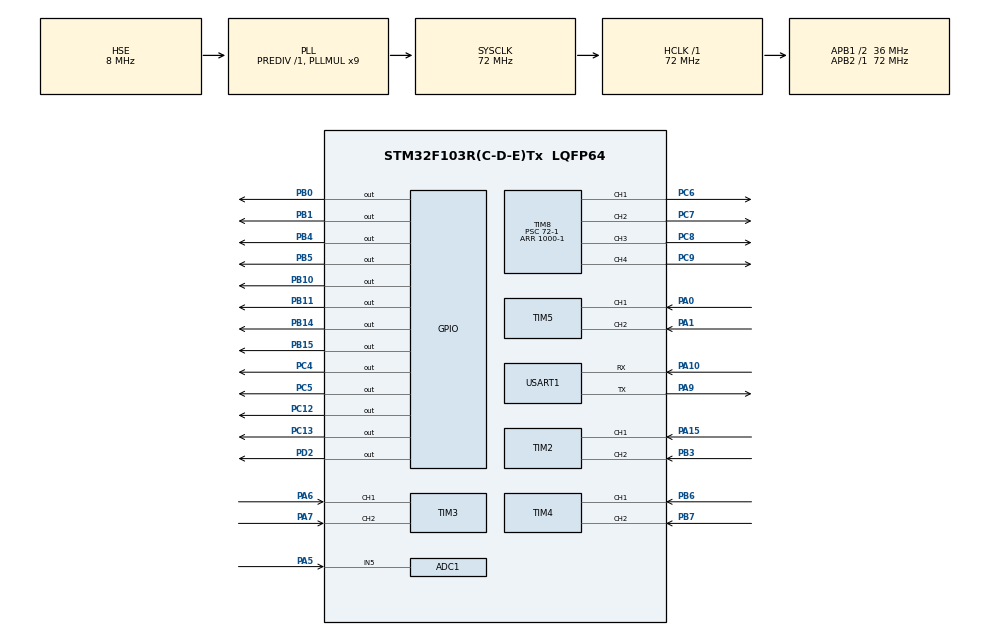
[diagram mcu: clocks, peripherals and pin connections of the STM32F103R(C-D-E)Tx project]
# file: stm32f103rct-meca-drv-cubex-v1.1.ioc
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ADC1.Channel-1\#ChannelRegularConversion=ADC_CHANNEL_5
ADC1.NbrOfConversionFlag=1
ADC1.Rank-1\#ChannelRegularConversion=1
ADC1.SamplingTime-1\#ChannelRegularConversion=ADC_SAMPLETIME_1CYCLE_5
ADC1.master=1
Dma.Request0=USART1_TX
Dma.USART1_TX.0.Direction=DMA_MEMORY_TO_PERIPH
Dma.USART1_TX.0.Instance=DMA1_Channel4
Dma.USART1_TX.0.MemDataAlignment=DMA_MDATAALIGN_BYTE
Dma.USART1_TX.0.MemInc=DMA_MINC_ENABLE
Dma.USART1_TX.0.Mode=DMA_NORMAL
Dma.USART1_TX.0.PeriphDataAlignment=DMA_PDATAALIGN_BYTE
Dma.USART1_TX.0.PeriphInc=DMA_PINC_DISABLE
Dma.USART1_TX.0.Priority=DMA_PRIORITY_LOW
FREERTOS.Tasks01=defaultTask,8,128,StartDefaultTask,Default,NULL,Dynamic,NULL,NULL;task_speed,24,128,start_task_speed,Default,NULL,Dynamic,NULL,NULL;task_control,24,640,start_task_control,Default,NULL,Dynamic,NULL,NULL;task_mpu,24,128,start_task_mpu,Default,NULL,Dynamic,NULL,NULL;task_report,24,128,start_task_report,Default,NULL,Dynamic,NULL,NULL
FREERTOS.configTOTAL_HEAP_SIZE=8192
FREERTOS.configUSE_NEWLIB_REENTRANT=1
Mcu.Family=STM32F1
Mcu.Name=STM32F103R(C-D-E)Tx
Mcu.Package=LQFP64
NVIC.DMA1_Channel4_IRQn=true\:5\:0\:false\:false\:true\:true\:false\:true\:true
NVIC.PriorityGroup=NVIC_PRIORITYGROUP_4
NVIC.TIM1_UP_IRQn=true\:15\:0\:false\:false\:true\:false\:false\:true\:true
NVIC.TimeBase=TIM1_UP_IRQn
NVIC.TimeBaseIP=TIM1
NVIC.USART1_IRQn=true\:5\:0\:false\:false\:true\:true\:true\:true\:true
PA0-WKUP.Signal=S_TIM5_CH1
PA1.Signal=S_TIM5_CH2
PA10.GPIO_PuPd=GPIO_PULLUP
PA10.Mode=Asynchronous
PA10.Signal=USART1_RX
PA13.Mode=Serial_Wire
PA13.Signal=SYS_JTMS-SWDIO
PA14.Mode=Serial_Wire
PA14.Signal=SYS_JTCK-SWCLK
PA15.Signal=S_TIM2_CH1_ETR
PA5.Signal=ADCx_IN5
PA6.Signal=S_TIM3_CH1
PA7.Signal=S_TIM3_CH2
PA9.Mode=Asynchronous
PA9.Signal=USART1_TX
PB0.Signal=GPIO_Output
PB1.Signal=GPIO_Output
PB10.Signal=GPIO_Output
PB11.Signal=GPIO_Output
PB14.Signal=GPIO_Output
PB15.Signal=GPIO_Output
PB3.Signal=S_TIM2_CH2
PB4.Signal=GPIO_Output
PB5.Signal=GPIO_Output
PB6.Signal=S_TIM4_CH1
PB7.Signal=S_TIM4_CH2
PC12.Signal=GPIO_Output
PC13-TAMPER-RTC.Signal=GPIO_Output
PC4.Signal=GPIO_Output
PC5.Signal=GPIO_Output
PC6.Signal=S_TIM8_CH1
PC7.Signal=S_TIM8_CH2
PC8.Signal=S_TIM8_CH3
PC9.Signal=S_TIM8_CH4
PD0-OSC_IN.Mode=HSE-External-Oscillator
PD0-OSC_IN.Signal=RCC_OSC_IN
PD1-OSC_OUT.Mode=HSE-External-Oscillator
PD1-OSC_OUT.Signal=RCC_OSC_OUT
PD2.Signal=GPIO_Output
ProjectManager.HeapSize=0x200
ProjectManager.StackSize=0x400
ProjectManager.TargetToolchain=STM32CubeIDE
RCC.ADCPresc=RCC_ADCPCLK2_DIV8
RCC.AHBFreq_Value=72000000
RCC.APB1CLKDivider=RCC_HCLK_DIV2
RCC.APB1Freq_Value=36000000
RCC.APB1TimFreq_Value=72000000
RCC.APB2Freq_Value=72000000
RCC.APB2TimFreq_Value=72000000
RCC.HCLKFreq_Value=72000000
RCC.PLLMUL=RCC_PLL_MUL9
RCC.PLLSourceVirtual=RCC_PLLSOURCE_HSE
RCC.SYSCLKFreq_VALUE=72000000
RCC.SYSCLKSource=RCC_SYSCLKSOURCE_PLLCLK
RCC.USBFreq_Value=72000000
SH.ADCx_IN5.0=ADC1_IN5,IN5
SH.S_TIM2_CH1_ETR.0=TIM2_CH1,Encoder_Interface
SH.S_TIM2_CH2.0=TIM2_CH2,Encoder_Interface
SH.S_TIM3_CH1.0=TIM3_CH1,Encoder_Interface
SH.S_TIM3_CH2.0=TIM3_CH2,Encoder_Interface
SH.S_TIM4_CH1.0=TIM4_CH1,Encoder_Interface
SH.S_TIM4_CH2.0=TIM4_CH2,Encoder_Interface
SH.S_TIM5_CH1.0=TIM5_CH1,Encoder_Interface
SH.S_TIM5_CH2.0=TIM5_CH2,Encoder_Interface
SH.S_TIM8_CH1.0=TIM8_CH1,PWM Generation1 CH1
SH.S_TIM8_CH2.0=TIM8_CH2,PWM Generation2 CH2
SH.S_TIM8_CH3.0=TIM8_CH3,PWM Generation3 CH3
SH.S_TIM8_CH4.0=TIM8_CH4,PWM Generation4 CH4
TIM2.EncoderMode=TIM_ENCODERMODE_TI12
TIM3.EncoderMode=TIM_ENCODERMODE_TI12
TIM4.EncoderMode=TIM_ENCODERMODE_TI12
TIM5.EncoderMode=TIM_ENCODERMODE_TI12
TIM8.Channel-PWM\ Generation1\ CH1=TIM_CHANNEL_1
TIM8.Channel-PWM\ Generation2\ CH2=TIM_CHANNEL_2
TIM8.Channel-PWM\ Generation3\ CH3=TIM_CHANNEL_3
TIM8.Channel-PWM\ Generation4\ CH4=TIM_CHANNEL_4
TIM8.Period=1000-1
TIM8.Prescaler=72-1
TIM8.Pulse-PWM\ Generation1\ CH1=1000-1
TIM8.Pulse-PWM\ Generation2\ CH2=1000-1
TIM8.Pulse-PWM\ Generation3\ CH3=999
TIM8.Pulse-PWM\ Generation4\ CH4=999
USART1.VirtualMode=VM_ASYNC
VP_FREERTOS_VS_CMSIS_V2.Mode=CMSIS_V2
VP_SYS_VS_tim1.Mode=TIM1
board=custom

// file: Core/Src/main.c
/* USER CODE BEGIN Header */
/**
  ******************************************************************************
  * @file           : main.c
  * @brief          : Main program body
  ******************************************************************************
  * @attention
  *
  * Copyright (c) 2023 STMicroelectronics.
  * All rights reserved.
  *
  * This software is licensed under terms that can be found in the LICENSE file
  * in the root directory of this software component.
  * If no LICENSE file comes with this software, it is provided AS-IS.
  *
  ******************************************************************************
  */
/* USER CODE END Header */
#include "main.h"
#include "cmsis_os.h"

/* USER CODE BEGIN Includes */
#include <bsp_motor.h>
#include <bsp_mpu9250.h>
#include <app_pid.h>
#include <protocol.h>
#include <app_bat.h>
#include <app_motion.h>
#include "string.h"

/* USER CODE END Includes */

ADC_HandleTypeDef hadc1;

TIM_HandleTypeDef htim2;
TIM_HandleTypeDef htim3;
TIM_HandleTypeDef htim4;
TIM_HandleTypeDef htim5;
TIM_HandleTypeDef htim8;

UART_HandleTypeDef huart1;
DMA_HandleTypeDef hdma_usart1_tx;

/* Definitions for defaultTask */
osThreadId_t defaultTaskHandle;
const osThreadAttr_t defaultTask_attributes = {
  .name = "defaultTask",
  .stack_size = 128 * 4,
  .priority = (osPriority_t) osPriorityLow,
};
/* Definitions for task_speed */
osThreadId_t task_speedHandle;
const osThreadAttr_t task_speed_attributes = {
  .name = "task_speed",
  .stack_size = 128 * 4,
  .priority = (osPriority_t) osPriorityNormal,
};
/* Definitions for task_control */
osThreadId_t task_controlHandle;
const osThreadAttr_t task_control_attributes = {
  .name = "task_control",
  .stack_size = 640 * 4,
  .priority = (osPriority_t) osPriorityNormal,
};
/* Definitions for task_mpu */
osThreadId_t task_mpuHandle;
const osThreadAttr_t task_mpu_attributes = {
  .name = "task_mpu",
  .stack_size = 128 * 4,
  .priority = (osPriority_t) osPriorityNormal,
};
/* Definitions for task_report */
osThreadId_t task_reportHandle;
const osThreadAttr_t task_report_attributes = {
  .name = "task_report",
  .stack_size = 128 * 4,
  .priority = (osPriority_t) osPriorityNormal,
};
/* USER CODE BEGIN PV */

#define RxBuf_SIZE 50
#define MainBuf_SIZE 100

uint8_t RxBuf[RxBuf_SIZE];
uint8_t m_rxbufcnt = 0;

uint8_t MainBuf[MainBuf_SIZE];
uint8_t MainBuf_rx_no = 0;
uint8_t m_rx_data = 0;

/* USER CODE END PV */

void SystemClock_Config(void);
static void MX_GPIO_Init(void);
static void MX_DMA_Init(void);
static void MX_TIM8_Init(void);
static void MX_TIM5_Init(void);
static void MX_TIM4_Init(void);
static void MX_TIM3_Init(void);
static void MX_TIM2_Init(void);
static void MX_USART1_UART_Init(void);
static void MX_ADC1_Init(void);
void StartDefaultTask(void *argument);
void start_task_speed(void *argument);
void start_task_control(void *argument);
void start_task_mpu(void *argument);
void start_task_report(void *argument);

/* USER CODE BEGIN 0 */

int16_t enc_counter = 0;
HAL_StatusTypeDef main_sts;
//
//void HAL_UARTEx_RxEventCallback(UART_HandleTypeDef *huart, uint16_t Size)
//{
//
//	if (huart->Instance == USART1)
//	{
//		memset(MainBuf, 0, sizeof(MainBuf));
//		memcpy ((uint8_t *)MainBuf, (uint8_t *)RxBuf,  Size);  // copy the remaining data
//		MainBuf_rx_no = Size;
//
//		Set_CMD_Flag();
//
//		/* start the DMA again */
//		main_sts = HAL_UARTEx_ReceiveToIdle_DMA(&huart1, (uint8_t *) RxBuf, RxBuf_SIZE);
//		__HAL_DMA_DISABLE_IT(&hdma_usart1_rx, DMA_IT_HT);
//
//	}
//}

void HAL_UART_RxCpltCallback(UART_HandleTypeDef *huart) {
	if (huart->Instance == USART1) {

		if(m_rx_data != '\n')
		{
			RxBuf[m_rxbufcnt++] = m_rx_data;
		}
		else
		{
			RxBuf[m_rxbufcnt++] = '\n';

			memcpy(MainBuf, RxBuf, m_rxbufcnt);
			MainBuf_rx_no = m_rxbufcnt;
			Set_CMD_Flag();

			memset(RxBuf, 0, sizeof(RxBuf));
			m_rxbufcnt = 0;
		}

		HAL_UART_Receive_IT(&huart1, &m_rx_data, 1);

	}
}

/* USER CODE END 0 */

int main(void)
{

  /* MCU Configuration--------------------------------------------------------*/

  /* Reset of all peripherals, Initializes the Flash interface and the Systick. */
  HAL_Init();

  /* Configure the system clock */
  SystemClock_Config();

  /* Initialize all configured peripherals */
  MX_GPIO_Init();
  MX_DMA_Init();
  MX_TIM8_Init();
  MX_TIM5_Init();
  MX_TIM4_Init();
  MX_TIM3_Init();
  MX_TIM2_Init();
  MX_USART1_UART_Init();
  MX_ADC1_Init();
  /* USER CODE BEGIN 2 */

  HAL_TIM_PWM_Start(&htim8, TIM_CHANNEL_1);
  HAL_TIM_PWM_Start(&htim8, TIM_CHANNEL_2);
  HAL_TIM_PWM_Start(&htim8, TIM_CHANNEL_3);
  HAL_TIM_PWM_Start(&htim8, TIM_CHANNEL_4);

  //Motor_Set_Pwm(MOTOR_ID_M1, Motor_1);
  Motor_Set_Pwm(MOTOR_ID_M1, 0);
  Motor_Set_Pwm(MOTOR_ID_M2, 0);
  Motor_Set_Pwm(MOTOR_ID_M3, 0);
  Motor_Set_Pwm(MOTOR_ID_M4, 0);

  HAL_TIM_Encoder_Start(&htim2, TIM_CHANNEL_ALL);
  HAL_TIM_Encoder_Start(&htim3, TIM_CHANNEL_ALL);
  HAL_TIM_Encoder_Start(&htim4, TIM_CHANNEL_ALL);
  HAL_TIM_Encoder_Start(&htim5, TIM_CHANNEL_ALL);

//  HAL_UARTEx_ReceiveToIdle_DMA(&huart1, RxBuf, RxBuf_SIZE);
//  __HAL_DMA_DISABLE_IT(&hdma_usart1_rx, DMA_IT_HT);
//  HAL_UART_Receive_DMA(&huart1, RxBuf, RxBuf_SIZE);

  HAL_UART_Receive_IT(&huart1, &m_rx_data, 1);

  //start_init
  PID_Param_Init();
  Motion_Ctrl(0, 0, 0);

  //MPU9250_init
  //MPU9250_Init(0);

  /* USER CODE END 2 */

  /* Init scheduler */
  osKernelInitialize();

  /* Create the thread(s) */
  /* creation of defaultTask */
  defaultTaskHandle = osThreadNew(StartDefaultTask, NULL, &defaultTask_attributes);

  /* creation of task_speed */
  task_speedHandle = osThreadNew(start_task_speed, NULL, &task_speed_attributes);

  /* creation of task_control */
  task_controlHandle = osThreadNew(start_task_control, NULL, &task_control_attributes);

  /* creation of task_mpu */
  task_mpuHandle = osThreadNew(start_task_mpu, NULL, &task_mpu_attributes);

  /* creation of task_report */
  task_reportHandle = osThreadNew(start_task_report, NULL, &task_report_attributes);

  /* Start scheduler */
  osKernelStart();
  /* We should never get here as control is now taken by the scheduler */
  /* Infinite loop */
  /* USER CODE BEGIN WHILE */
  while (1)
  {
	  enc_counter = TIM5->CNT;

    /* USER CODE END WHILE */

  }
}

void SystemClock_Config(void)
{
  RCC_OscInitTypeDef RCC_OscInitStruct = {0};
  RCC_ClkInitTypeDef RCC_ClkInitStruct = {0};
  RCC_PeriphCLKInitTypeDef PeriphClkInit = {0};

  /** Initializes the RCC Oscillators according to the specified parameters
  * in the RCC_OscInitTypeDef structure.
  */
  RCC_OscInitStruct.OscillatorType = RCC_OSCILLATORTYPE_HSE;
  RCC_OscInitStruct.HSEState = RCC_HSE_ON;
  RCC_OscInitStruct.HSEPredivValue = RCC_HSE_PREDIV_DIV1;
  RCC_OscInitStruct.HSIState = RCC_HSI_ON;
  RCC_OscInitStruct.PLL.PLLState = RCC_PLL_ON;
  RCC_OscInitStruct.PLL.PLLSource = RCC_PLLSOURCE_HSE;
  RCC_OscInitStruct.PLL.PLLMUL = RCC_PLL_MUL9;
  if (HAL_RCC_OscConfig(&RCC_OscInitStruct) != HAL_OK)
  {
    Error_Handler();
  }

  /** Initializes the CPU, AHB and APB buses clocks
  */
  RCC_ClkInitStruct.ClockType = RCC_CLOCKTYPE_HCLK|RCC_CLOCKTYPE_SYSCLK
                              |RCC_CLOCKTYPE_PCLK1|RCC_CLOCKTYPE_PCLK2;
  RCC_ClkInitStruct.SYSCLKSource = RCC_SYSCLKSOURCE_PLLCLK;
  RCC_ClkInitStruct.AHBCLKDivider = RCC_SYSCLK_DIV1;
  RCC_ClkInitStruct.APB1CLKDivider = RCC_HCLK_DIV2;
  RCC_ClkInitStruct.APB2CLKDivider = RCC_HCLK_DIV1;

  if (HAL_RCC_ClockConfig(&RCC_ClkInitStruct, FLASH_LATENCY_2) != HAL_OK)
  {
    Error_Handler();
  }
  PeriphClkInit.PeriphClockSelection = RCC_PERIPHCLK_ADC;
  PeriphClkInit.AdcClockSelection = RCC_ADCPCLK2_DIV8;
  if (HAL_RCCEx_PeriphCLKConfig(&PeriphClkInit) != HAL_OK)
  {
    Error_Handler();
  }
}

static void MX_ADC1_Init(void)
{

  ADC_ChannelConfTypeDef sConfig = {0};

  /** Common config
  */
  hadc1.Instance = ADC1;
  hadc1.Init.ScanConvMode = ADC_SCAN_DISABLE;
  hadc1.Init.ContinuousConvMode = DISABLE;
  hadc1.Init.DiscontinuousConvMode = DISABLE;
  hadc1.Init.ExternalTrigConv = ADC_SOFTWARE_START;
  hadc1.Init.DataAlign = ADC_DATAALIGN_RIGHT;
  hadc1.Init.NbrOfConversion = 1;
  if (HAL_ADC_Init(&hadc1) != HAL_OK)
  {
    Error_Handler();
  }

  /** Configure Regular Channel
  */
  sConfig.Channel = ADC_CHANNEL_5;
  sConfig.Rank = ADC_REGULAR_RANK_1;
  sConfig.SamplingTime = ADC_SAMPLETIME_1CYCLE_5;
  if (HAL_ADC_ConfigChannel(&hadc1, &sConfig) != HAL_OK)
  {
    Error_Handler();
  }

}

static void MX_TIM2_Init(void)
{

  TIM_Encoder_InitTypeDef sConfig = {0};
  TIM_MasterConfigTypeDef sMasterConfig = {0};

  htim2.Instance = TIM2;
  htim2.Init.Prescaler = 0;
  htim2.Init.CounterMode = TIM_COUNTERMODE_UP;
  htim2.Init.Period = 65535;
  htim2.Init.ClockDivision = TIM_CLOCKDIVISION_DIV1;
  htim2.Init.AutoReloadPreload = TIM_AUTORELOAD_PRELOAD_DISABLE;
  sConfig.EncoderMode = TIM_ENCODERMODE_TI12;
  sConfig.IC1Polarity = TIM_ICPOLARITY_RISING;
  sConfig.IC1Selection = TIM_ICSELECTION_DIRECTTI;
  sConfig.IC1Prescaler = TIM_ICPSC_DIV1;
  sConfig.IC1Filter = 0;
  sConfig.IC2Polarity = TIM_ICPOLARITY_RISING;
  sConfig.IC2Selection = TIM_ICSELECTION_DIRECTTI;
  sConfig.IC2Prescaler = TIM_ICPSC_DIV1;
  sConfig.IC2Filter = 0;
  if (HAL_TIM_Encoder_Init(&htim2, &sConfig) != HAL_OK)
  {
    Error_Handler();
  }
  sMasterConfig.MasterOutputTrigger = TIM_TRGO_RESET;
  sMasterConfig.MasterSlaveMode = TIM_MASTERSLAVEMODE_DISABLE;
  if (HAL_TIMEx_MasterConfigSynchronization(&htim2, &sMasterConfig) != HAL_OK)
  {
    Error_Handler();
  }

}

static void MX_TIM3_Init(void)
{

  TIM_Encoder_InitTypeDef sConfig = {0};
  TIM_MasterConfigTypeDef sMasterConfig = {0};

  htim3.Instance = TIM3;
  htim3.Init.Prescaler = 0;
  htim3.Init.CounterMode = TIM_COUNTERMODE_UP;
  htim3.Init.Period = 65535;
  htim3.Init.ClockDivision = TIM_CLOCKDIVISION_DIV1;
  htim3.Init.AutoReloadPreload = TIM_AUTORELOAD_PRELOAD_DISABLE;
  sConfig.EncoderMode = TIM_ENCODERMODE_TI12;
  sConfig.IC1Polarity = TIM_ICPOLARITY_RISING;
  sConfig.IC1Selection = TIM_ICSELECTION_DIRECTTI;
  sConfig.IC1Prescaler = TIM_ICPSC_DIV1;
  sConfig.IC1Filter = 0;
  sConfig.IC2Polarity = TIM_ICPOLARITY_RISING;
  sConfig.IC2Selection = TIM_ICSELECTION_DIRECTTI;
  sConfig.IC2Prescaler = TIM_ICPSC_DIV1;
  sConfig.IC2Filter = 0;
  if (HAL_TIM_Encoder_Init(&htim3, &sConfig) != HAL_OK)
  {
    Error_Handler();
  }
  sMasterConfig.MasterOutputTrigger = TIM_TRGO_RESET;
  sMasterConfig.MasterSlaveMode = TIM_MASTERSLAVEMODE_DISABLE;
  if (HAL_TIMEx_MasterConfigSynchronization(&htim3, &sMasterConfig) != HAL_OK)
  {
    Error_Handler();
  }

}

static void MX_TIM4_Init(void)
{

  TIM_Encoder_InitTypeDef sConfig = {0};
  TIM_MasterConfigTypeDef sMasterConfig = {0};

  htim4.Instance = TIM4;
  htim4.Init.Prescaler = 0;
  htim4.Init.CounterMode = TIM_COUNTERMODE_UP;
  htim4.Init.Period = 65535;
  htim4.Init.ClockDivision = TIM_CLOCKDIVISION_DIV1;
  htim4.Init.AutoReloadPreload = TIM_AUTORELOAD_PRELOAD_DISABLE;
  sConfig.EncoderMode = TIM_ENCODERMODE_TI12;
  sConfig.IC1Polarity = TIM_ICPOLARITY_RISING;
  sConfig.IC1Selection = TIM_ICSELECTION_DIRECTTI;
  sConfig.IC1Prescaler = TIM_ICPSC_DIV1;
  sConfig.IC1Filter = 0;
  sConfig.IC2Polarity = TIM_ICPOLARITY_RISING;
  sConfig.IC2Selection = TIM_ICSELECTION_DIRECTTI;
  sConfig.IC2Prescaler = TIM_ICPSC_DIV1;
  sConfig.IC2Filter = 0;
  if (HAL_TIM_Encoder_Init(&htim4, &sConfig) != HAL_OK)
  {
    Error_Handler();
  }
  sMasterConfig.MasterOutputTrigger = TIM_TRGO_RESET;
  sMasterConfig.MasterSlaveMode = TIM_MASTERSLAVEMODE_DISABLE;
  if (HAL_TIMEx_MasterConfigSynchronization(&htim4, &sMasterConfig) != HAL_OK)
  {
    Error_Handler();
  }

}

static void MX_TIM5_Init(void)
{

  TIM_Encoder_InitTypeDef sConfig = {0};
  TIM_MasterConfigTypeDef sMasterConfig = {0};

  htim5.Instance = TIM5;
  htim5.Init.Prescaler = 0;
  htim5.Init.CounterMode = TIM_COUNTERMODE_UP;
  htim5.Init.Period = 65535;
  htim5.Init.ClockDivision = TIM_CLOCKDIVISION_DIV1;
  htim5.Init.AutoReloadPreload = TIM_AUTORELOAD_PRELOAD_DISABLE;
  sConfig.EncoderMode = TIM_ENCODERMODE_TI12;
  sConfig.IC1Polarity = TIM_ICPOLARITY_RISING;
  sConfig.IC1Selection = TIM_ICSELECTION_DIRECTTI;
  sConfig.IC1Prescaler = TIM_ICPSC_DIV1;
  sConfig.IC1Filter = 0;
  sConfig.IC2Polarity = TIM_ICPOLARITY_RISING;
  sConfig.IC2Selection = TIM_ICSELECTION_DIRECTTI;
  sConfig.IC2Prescaler = TIM_ICPSC_DIV1;
  sConfig.IC2Filter = 0;
  if (HAL_TIM_Encoder_Init(&htim5, &sConfig) != HAL_OK)
  {
    Error_Handler();
  }
  sMasterConfig.MasterOutputTrigger = TIM_TRGO_RESET;
  sMasterConfig.MasterSlaveMode = TIM_MASTERSLAVEMODE_DISABLE;
  if (HAL_TIMEx_MasterConfigSynchronization(&htim5, &sMasterConfig) != HAL_OK)
  {
    Error_Handler();
  }

}

static void MX_TIM8_Init(void)
{

  TIM_MasterConfigTypeDef sMasterConfig = {0};
  TIM_OC_InitTypeDef sConfigOC = {0};
  TIM_BreakDeadTimeConfigTypeDef sBreakDeadTimeConfig = {0};

  htim8.Instance = TIM8;
  htim8.Init.Prescaler = 72-1;
  htim8.Init.CounterMode = TIM_COUNTERMODE_UP;
  htim8.Init.Period = 1000-1;
  htim8.Init.ClockDivision = TIM_CLOCKDIVISION_DIV1;
  htim8.Init.RepetitionCounter = 0;
  htim8.Init.AutoReloadPreload = TIM_AUTORELOAD_PRELOAD_DISABLE;
  if (HAL_TIM_PWM_Init(&htim8) != HAL_OK)
  {
    Error_Handler();
  }
  sMasterConfig.MasterOutputTrigger = TIM_TRGO_RESET;
  sMasterConfig.MasterSlaveMode = TIM_MASTERSLAVEMODE_DISABLE;
  if (HAL_TIMEx_MasterConfigSynchronization(&htim8, &sMasterConfig) != HAL_OK)
  {
    Error_Handler();
  }
  sConfigOC.OCMode = TIM_OCMODE_PWM1;
  sConfigOC.Pulse = 1000-1;
  sConfigOC.OCPolarity = TIM_OCPOLARITY_HIGH;
  sConfigOC.OCNPolarity = TIM_OCNPOLARITY_HIGH;
  sConfigOC.OCFastMode = TIM_OCFAST_DISABLE;
  sConfigOC.OCIdleState = TIM_OCIDLESTATE_RESET;
  sConfigOC.OCNIdleState = TIM_OCNIDLESTATE_RESET;
  if (HAL_TIM_PWM_ConfigChannel(&htim8, &sConfigOC, TIM_CHANNEL_1) != HAL_OK)
  {
    Error_Handler();
  }
  if (HAL_TIM_PWM_ConfigChannel(&htim8, &sConfigOC, TIM_CHANNEL_2) != HAL_OK)
  {
    Error_Handler();
  }
  sConfigOC.Pulse = 999;
  if (HAL_TIM_PWM_ConfigChannel(&htim8, &sConfigOC, TIM_CHANNEL_3) != HAL_OK)
  {
    Error_Handler();
  }
  if (HAL_TIM_PWM_ConfigChannel(&htim8, &sConfigOC, TIM_CHANNEL_4) != HAL_OK)
  {
    Error_Handler();
  }
  sBreakDeadTimeConfig.OffStateRunMode = TIM_OSSR_DISABLE;
  sBreakDeadTimeConfig.OffStateIDLEMode = TIM_OSSI_DISABLE;
  sBreakDeadTimeConfig.LockLevel = TIM_LOCKLEVEL_OFF;
  sBreakDeadTimeConfig.DeadTime = 0;
  sBreakDeadTimeConfig.BreakState = TIM_BREAK_DISABLE;
  sBreakDeadTimeConfig.BreakPolarity = TIM_BREAKPOLARITY_HIGH;
  sBreakDeadTimeConfig.AutomaticOutput = TIM_AUTOMATICOUTPUT_DISABLE;
  if (HAL_TIMEx_ConfigBreakDeadTime(&htim8, &sBreakDeadTimeConfig) != HAL_OK)
  {
    Error_Handler();
  }
  HAL_TIM_MspPostInit(&htim8);

}

static void MX_USART1_UART_Init(void)
{

  huart1.Instance = USART1;
  huart1.Init.BaudRate = 115200;
  huart1.Init.WordLength = UART_WORDLENGTH_8B;
  huart1.Init.StopBits = UART_STOPBITS_1;
  huart1.Init.Parity = UART_PARITY_NONE;
  huart1.Init.Mode = UART_MODE_TX_RX;
  huart1.Init.HwFlowCtl = UART_HWCONTROL_NONE;
  huart1.Init.OverSampling = UART_OVERSAMPLING_16;
  if (HAL_UART_Init(&huart1) != HAL_OK)
  {
    Error_Handler();
  }

}

static void MX_DMA_Init(void)
{

  /* DMA controller clock enable */
  __HAL_RCC_DMA1_CLK_ENABLE();

  /* DMA interrupt init */
  /* DMA1_Channel4_IRQn interrupt configuration */
  HAL_NVIC_SetPriority(DMA1_Channel4_IRQn, 5, 0);
  HAL_NVIC_EnableIRQ(DMA1_Channel4_IRQn);

}

static void MX_GPIO_Init(void)
{
  GPIO_InitTypeDef GPIO_InitStruct = {0};

  /* GPIO Ports Clock Enable */
  __HAL_RCC_GPIOC_CLK_ENABLE();
  __HAL_RCC_GPIOD_CLK_ENABLE();
  __HAL_RCC_GPIOA_CLK_ENABLE();
  __HAL_RCC_GPIOB_CLK_ENABLE();

  /*Configure GPIO pin Output Level */
  HAL_GPIO_WritePin(GPIOC, GPIO_PIN_13|GPIO_PIN_4|GPIO_PIN_5|GPIO_PIN_12, GPIO_PIN_RESET);

  /*Configure GPIO pin Output Level */
  HAL_GPIO_WritePin(GPIOB, GPIO_PIN_0|GPIO_PIN_1|GPIO_PIN_10|GPIO_PIN_11
                          |GPIO_PIN_14|GPIO_PIN_15|GPIO_PIN_4|GPIO_PIN_5, GPIO_PIN_RESET);

  /*Configure GPIO pin Output Level */
  HAL_GPIO_WritePin(GPIOD, GPIO_PIN_2, GPIO_PIN_RESET);

  /*Configure GPIO pins : PC13 PC4 PC5 PC12 */
  GPIO_InitStruct.Pin = GPIO_PIN_13|GPIO_PIN_4|GPIO_PIN_5|GPIO_PIN_12;
  GPIO_InitStruct.Mode = GPIO_MODE_OUTPUT_PP;
  GPIO_InitStruct.Pull = GPIO_NOPULL;
  GPIO_InitStruct.Speed = GPIO_SPEED_FREQ_LOW;
  HAL_GPIO_Init(GPIOC, &GPIO_InitStruct);

  /*Configure GPIO pins : PB0 PB1 PB10 PB11
                           PB14 PB15 PB4 PB5 */
  GPIO_InitStruct.Pin = GPIO_PIN_0|GPIO_PIN_1|GPIO_PIN_10|GPIO_PIN_11
                          |GPIO_PIN_14|GPIO_PIN_15|GPIO_PIN_4|GPIO_PIN_5;
  GPIO_InitStruct.Mode = GPIO_MODE_OUTPUT_PP;
  GPIO_InitStruct.Pull = GPIO_NOPULL;
  GPIO_InitStruct.Speed = GPIO_SPEED_FREQ_LOW;
  HAL_GPIO_Init(GPIOB, &GPIO_InitStruct);

  /*Configure GPIO pin : PD2 */
  GPIO_InitStruct.Pin = GPIO_PIN_2;
  GPIO_InitStruct.Mode = GPIO_MODE_OUTPUT_PP;
  GPIO_InitStruct.Pull = GPIO_NOPULL;
  GPIO_InitStruct.Speed = GPIO_SPEED_FREQ_LOW;
  HAL_GPIO_Init(GPIOD, &GPIO_InitStruct);

}

/* USER CODE BEGIN 4 */

//start_task

/* USER CODE END 4 */

void StartDefaultTask(void *argument)
{
  /* USER CODE BEGIN 5 */
  /* Infinite loop */
  for(;;)
  {
	  adc_conv();
	  osDelay(1000);
  }

  /* USER CODE END 5 */
}

void start_task_speed(void *argument)
{
  /* USER CODE BEGIN start_task_speed */
  /* Infinite loop */
  uint32_t lastWakeTime = xTaskGetTickCount();
  for(;;)
  {
	  // App_Delay_ms(10);
	  vTaskDelayUntil(&lastWakeTime, 10);
	  Encoder_Update_Count();
	  Motion_Handle();
  }
  /* USER CODE END start_task_speed */
}

/* USER CODE BEGIN Header_start_task_control */
/**
* @brief Function implementing the task_control thread.
* @param argument: Not used
* @retval None
*/
//sgkim
/* USER CODE END Header_start_task_control */
void start_task_control(void *argument)
{
  /* USER CODE BEGIN start_task_control */
  /* Infinite loop */
  //while (System_Enable())
  for(;;)
  {
	  if (Get_CMD_Flag())
	  {
		  u_Data_Parse( MainBuf, MainBuf_rx_no );
		  Clear_CMD_Flag();
	  }
	  osDelay(1);
  }

  /* USER CODE END start_task_control */
}

void start_task_mpu(void *argument)
{
  /* USER CODE BEGIN start_task_mpu */
//	/* Infinite loop */
// 	uint32_t lastWakeTime = xTaskGetTickCount();
//
// 	while (System_Enable())
//	{
//		MPU9250_Read_Data_Handle();
//		vTaskDelayUntil(&lastWakeTime, 10);
//		//HAL_GPIO_TogglePin(GPIOC,GPIO_PIN_13 );
//	}
//
 	while (1)
	{
		osDelay(1000);
	}
  /* USER CODE END start_task_mpu */
}

void start_task_report(void *argument)
{
  /* USER CODE BEGIN start_task_report */
    /* Infinite loop */
	osDelay(40);

//	uint16_t report_count = 0;
//	while (System_Enable())
//	{
//		if (Get_Request_Flag() > 0)
//		{
//			report_count = 0;
//			Send_Request_Data();
//		}
//
//		if (report_count == 1)
//		{
//			Motion_Send_Data();
//		}
//		else if (report_count == 11)
//		{
//			MPU9250_Send_Raw_Data();
//		}
//		else if (report_count == 21)
//		{
//			;
//		}
//		else if (report_count == 31)
//		{
//			Encoder_Send_Count_Now();
//		}
//
//		report_count++;
//		if (report_count > 40 ) report_count = 0;
//		App_Delay_ms(1);
//	}

	for(;;)
	{
		osDelay(1);
	}

  /* USER CODE END start_task_report */
}

void HAL_TIM_PeriodElapsedCallback(TIM_HandleTypeDef *htim)
{
  if (htim->Instance == TIM1) {
    HAL_IncTick();
  }
}

void Error_Handler(void)
{
  __disable_irq();
  while (1)
  {
  }
}
